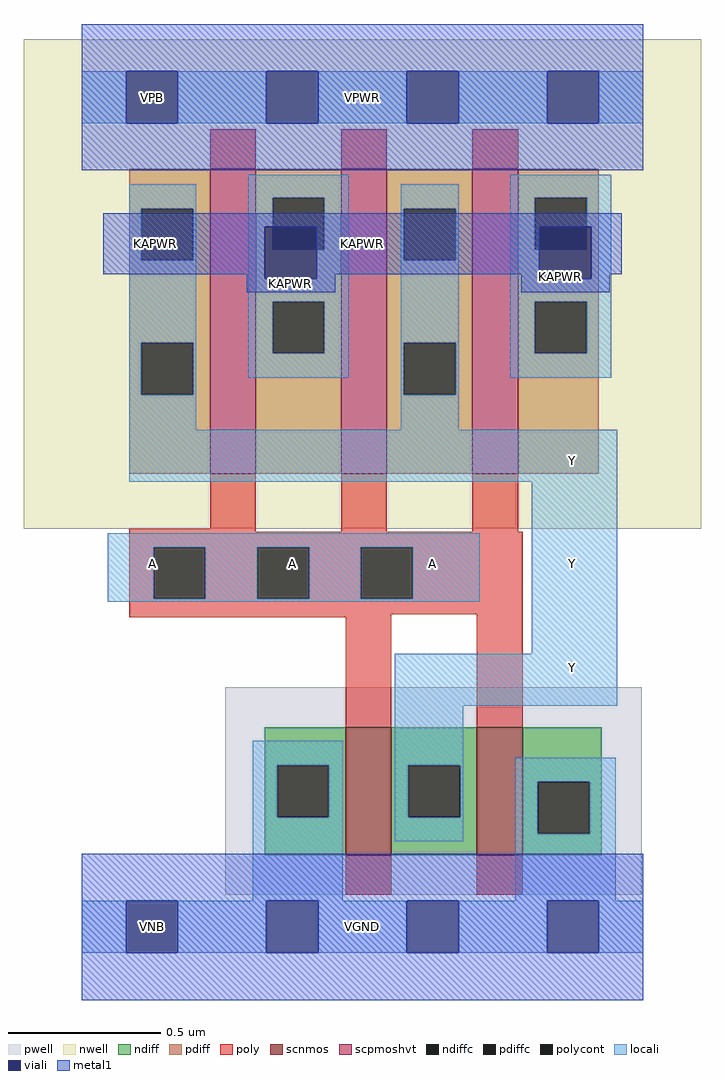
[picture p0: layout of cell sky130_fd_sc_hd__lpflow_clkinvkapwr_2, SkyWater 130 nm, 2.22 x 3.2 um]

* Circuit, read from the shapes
.subckt sky130_fd_sc_hd__lpflow_clkinvkapwr_2 A KAPWR VGND VNB VPB VPWR Y
XM1 Y A VGND VNB sky130_fd_pr__nfet_01v8 w=0.42 l=0.15 m=2
XM2 KAPWR A Y VPB sky130_fd_pr__pfet_01v8_hvt w=1 l=0.15 m=3
.ends

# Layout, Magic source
magic
tech sky130B
magscale 1 2
<< nwell >>
rect -38 261 406 582
<< pwell >>
rect 94 21 367 157
rect 29 -17 63 17
<< scnmos >>
rect 173 47 203 131
rect 259 47 289 131
<< scpmoshvt >>
rect 84 297 114 497
rect 170 297 200 497
rect 256 297 286 497
<< ndiff >>
rect 120 106 173 131
rect 120 72 128 106
rect 162 72 173 106
rect 120 47 173 72
rect 203 106 259 131
rect 203 72 214 106
rect 248 72 259 106
rect 203 47 259 72
rect 289 95 341 131
rect 289 61 299 95
rect 333 61 341 95
rect 289 47 341 61
<< pdiff >>
rect 31 471 84 497
rect 31 437 39 471
rect 73 437 84 471
rect 31 383 84 437
rect 31 349 39 383
rect 73 349 84 383
rect 31 297 84 349
rect 114 478 170 497
rect 114 444 125 478
rect 159 444 170 478
rect 114 410 170 444
rect 114 376 125 410
rect 159 376 170 410
rect 114 297 170 376
rect 200 471 256 497
rect 200 437 211 471
rect 245 437 256 471
rect 200 383 256 437
rect 200 349 211 383
rect 245 349 256 383
rect 200 297 256 349
rect 286 478 339 497
rect 286 444 297 478
rect 331 444 339 478
rect 286 410 339 444
rect 286 376 297 410
rect 331 376 339 410
rect 286 297 339 376
<< ndiffc >>
rect 128 72 162 106
rect 214 72 248 106
rect 299 61 333 95
<< pdiffc >>
rect 39 437 73 471
rect 39 349 73 383
rect 125 444 159 478
rect 125 376 159 410
rect 211 437 245 471
rect 211 349 245 383
rect 297 444 331 478
rect 297 376 331 410
<< poly >>
rect 84 497 114 523
rect 170 497 200 523
rect 256 497 286 523
rect 84 261 114 297
rect 31 259 114 261
rect 170 259 200 297
rect 256 259 286 297
rect 31 249 289 259
rect 31 215 47 249
rect 81 215 115 249
rect 149 215 183 249
rect 217 215 289 249
rect 31 205 289 215
rect 31 203 203 205
rect 173 131 203 203
rect 259 131 289 205
rect 173 21 203 47
rect 259 21 289 47
<< polycont >>
rect 47 215 81 249
rect 115 215 149 249
rect 183 215 217 249
<< locali >>
rect 0 527 29 561
rect 63 527 121 561
rect 155 527 213 561
rect 247 527 305 561
rect 339 527 368 561
rect 31 471 75 487
rect 31 437 39 471
rect 73 437 75 471
rect 31 383 75 437
rect 31 349 39 383
rect 73 349 75 383
rect 109 478 175 493
rect 109 459 125 478
rect 109 425 120 459
rect 159 444 175 478
rect 154 425 175 444
rect 109 410 175 425
rect 109 376 125 410
rect 159 376 175 410
rect 109 360 175 376
rect 209 471 247 487
rect 209 437 211 471
rect 245 437 247 471
rect 209 383 247 437
rect 31 326 75 349
rect 209 349 211 383
rect 245 349 247 383
rect 281 478 347 493
rect 281 444 297 478
rect 331 459 347 478
rect 281 425 300 444
rect 334 425 347 459
rect 281 410 347 425
rect 281 376 297 410
rect 331 376 347 410
rect 281 360 347 376
rect 209 326 247 349
rect 31 292 351 326
rect 17 249 261 258
rect 17 215 47 249
rect 81 215 115 249
rect 149 215 183 249
rect 217 215 261 249
rect 17 213 261 215
rect 295 179 351 292
rect 205 145 351 179
rect 112 106 171 122
rect 112 72 128 106
rect 162 72 171 106
rect 112 17 171 72
rect 205 106 250 145
rect 205 72 214 106
rect 248 72 250 106
rect 205 56 250 72
rect 284 95 350 111
rect 284 61 299 95
rect 333 61 350 95
rect 284 17 350 61
rect 0 -17 29 17
rect 63 -17 121 17
rect 155 -17 213 17
rect 247 -17 305 17
rect 339 -17 368 17
<< viali >>
rect 29 527 63 561
rect 121 527 155 561
rect 213 527 247 561
rect 305 527 339 561
rect 120 444 125 459
rect 125 444 154 459
rect 120 425 154 444
rect 300 444 331 459
rect 331 444 334 459
rect 300 425 334 444
rect 29 -17 63 17
rect 121 -17 155 17
rect 213 -17 247 17
rect 305 -17 339 17
<< metal1 >>
rect 0 561 368 592
rect 0 527 29 561
rect 63 527 121 561
rect 155 527 213 561
rect 247 527 305 561
rect 339 527 368 561
rect 0 496 368 527
rect 14 459 354 468
rect 14 428 120 459
rect 108 425 120 428
rect 154 428 300 459
rect 154 425 166 428
rect 108 416 166 425
rect 288 425 300 428
rect 334 428 354 459
rect 334 425 346 428
rect 288 416 346 425
rect 0 17 368 48
rect 0 -17 29 17
rect 63 -17 121 17
rect 155 -17 213 17
rect 247 -17 305 17
rect 339 -17 368 17
rect 0 -48 368 -17
<< labels >>
flabel locali s 305 153 339 187 0 FreeSans 400 0 0 0 Y
port 7 nsew signal output
flabel locali s 305 221 339 255 0 FreeSans 400 0 0 0 Y
port 7 nsew signal output
flabel locali s 305 289 339 323 0 FreeSans 400 0 0 0 Y
port 7 nsew signal output
flabel locali s 213 221 247 255 0 FreeSans 400 0 0 0 A
port 1 nsew signal input
flabel locali s 121 221 155 255 0 FreeSans 400 0 0 0 A
port 1 nsew signal input
flabel locali s 29 221 63 255 0 FreeSans 400 0 0 0 A
port 1 nsew signal input
flabel pwell s 29 -17 63 17 0 FreeSans 200 0 0 0 VNB
port 4 nsew ground bidirectional
flabel nwell s 29 527 63 561 0 FreeSans 200 0 0 0 VPB
port 5 nsew power bidirectional
flabel metal1 s 29 428 67 468 0 FreeSans 200 0 0 0 KAPWR
port 2 nsew power bidirectional abutment
flabel metal1 s 29 527 63 561 0 FreeSans 200 0 0 0 VPWR
port 6 nsew power bidirectional abutment
flabel metal1 s 29 -17 63 17 0 FreeSans 200 0 0 0 VGND
port 3 nsew ground bidirectional abutment
rlabel comment s 0 0 0 0 4 lpflow_clkinvkapwr_2
rlabel locali s 281 360 347 493 1 KAPWR
port 2 nsew power bidirectional abutment
rlabel metal1 s 288 416 346 428 1 KAPWR
port 2 nsew power bidirectional abutment
rlabel metal1 s 108 416 166 428 1 KAPWR
port 2 nsew power bidirectional abutment
rlabel metal1 s 14 428 354 468 1 KAPWR
port 2 nsew power bidirectional abutment
rlabel metal1 s 0 -48 368 48 1 VGND
port 3 nsew ground bidirectional abutment
rlabel metal1 s 0 496 368 592 1 VPWR
port 6 nsew power bidirectional abutment
<< properties >>
string FIXED_BBOX 0 0 368 544
string GDS_END 2285526
string GDS_FILE $PDKPATH/libs.ref/sky130_fd_sc_hd/gds/sky130_fd_sc_hd.gds
string GDS_START 2280822
string LEFclass CORE
string LEFsite unithd
string LEFsymmetry X Y R90
string path 0.000 0.000 9.200 0.000 
<< end >>
